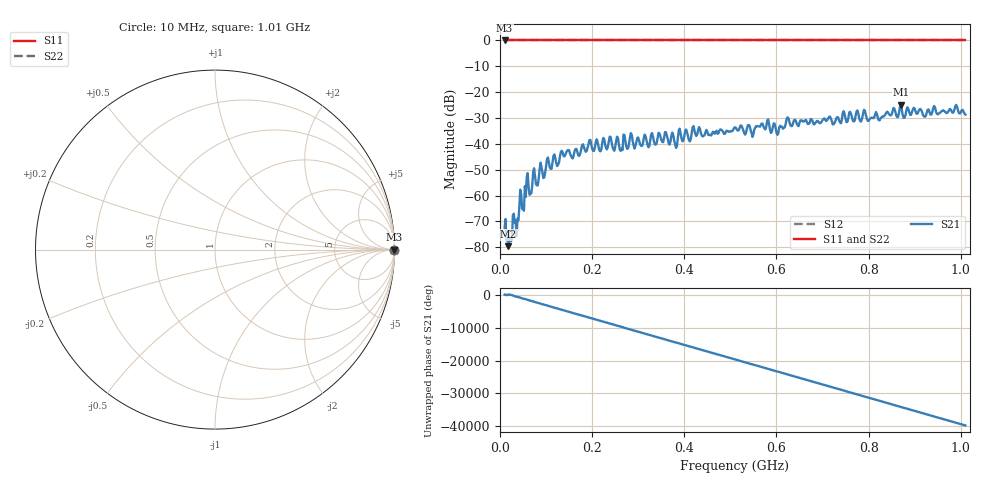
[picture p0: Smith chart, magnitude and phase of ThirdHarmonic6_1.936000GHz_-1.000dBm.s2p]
! 8/16/2025 11:19:49 PM
! C:\ANRITSUVNA\TEMP\TEMP.S2P
! CHANNEL.1
! TR.MEASUREMENT
! RAW.DATA
! RF.CORRECTION.OFF
! AVERAGING.OFF
! IF.BANDWIDTH: 5KHZ
! SWEEPTYPE:  FREQ.SWEEP(Linear)
! Reference Plane Port Info
! PORT:  PORT1  PORT2
! DISTANCE:  0  m  0  m
! TIME:  0  s  0  s
! PHASE.OFFSET:  0  deg.  0  deg.
! LOSS:  0  dB  0  dB
! REF.LOSS:  0  dB  0  dB
! REF.FREQ:  0  Hz  0  Hz
! Power Info
! POWER:  -20  dBm  -20  dBm
! EFF.POWER:  -20  dBm  -20  dBm
! SOURCE.ATTEN:  0  dB  0  dB
! TEST.ATTEN:  0  dB  0  dB
# GHZ S RI R 50.0
! FREQ.GHZ  S11RE  S11IM  S21RE  S21IM  S12RE  S12IM  S22RE  S22IM
!; PortSelection: Port_12
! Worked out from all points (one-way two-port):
!   501 points, 10 MHz to 1.01 GHz, reference 50 ohm
!   highest |S21| = -24.86 dB at 870 MHz (marker M1); lowest = -79.6 dB at 18 MHz (marker M2)
!   lowest |S11| = 0.0 dB at 10 MHz (marker M3)
!   |S11| at or under -10 dB: nowhere
!   |S22| runs from 0.0 to 0.0 dB; largest |S21 - S12| = 1.1
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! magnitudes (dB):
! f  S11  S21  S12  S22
! 10 MHz  0.0  -72.4  0.0  0.0
! 18 MHz  0.0  -79.6  0.0  0.0
! 30 MHz  0.0  -67.0  0.0  0.0
! 36 MHz  0.0  -75.7  0.0  0.0
! 42 MHz  0.0  -64.2  0.0  0.0
! 52 MHz  0.0  -65.9  0.0  0.0
! 58 MHz  0.0  -53.0  0.0  0.0
! 66 MHz  0.0  -59.4  0.0  0.0
! 74 MHz  0.0  -49.4  0.0  0.0
! 80 MHz  0.0  -56.0  0.0  0.0
! 104 MHz  0.0  -45.2  0.0  0.0
! 178 MHz  0.0  -40.7  0.0  0.0
! 344 MHz  0.0  -35.8  0.0  0.0
! 382 MHz  0.0  -41.5  0.0  0.0
! 390 MHz  0.0  -34.1  0.0  0.0
! 412 MHz  0.0  -39.1  0.0  0.0
! 420 MHz  0.0  -33.1  0.0  0.0
! 510 MHz  0.0  -33.6  0.0  0.0
! 678 MHz  0.0  -31.0  0.0  0.0
! 844 MHz  0.0  -28.4  0.0  0.0
! 870 MHz  0.0  -24.9  0.0  0.0
! 1.01 GHz  0.0  -28.7  0.0  0.0
